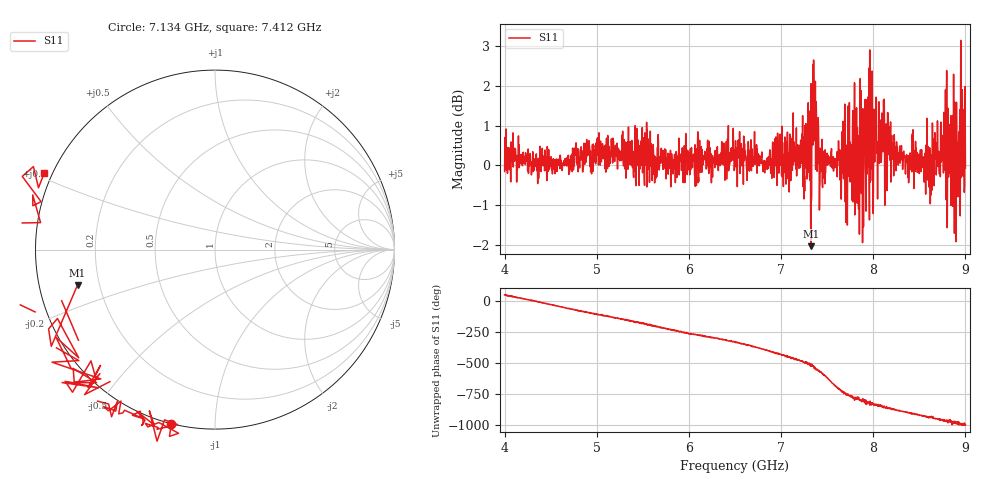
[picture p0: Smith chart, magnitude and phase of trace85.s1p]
! Created with skrf 1.8.0 (http://scikit-rf.org).
# Hz S RI R 50.0
!freq ReS11 ImS11
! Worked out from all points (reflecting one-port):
!   1601 points, 4 GHz to 9 GHz, reference 50 ohm
!   lowest |S11| = -2.0 dB at 7.322 GHz (marker M1), VSWR 8.57, Z = 5.93 - j6.26 ohm
!   phase of S11 starts at 52 deg and turns -1048 deg over the sweep
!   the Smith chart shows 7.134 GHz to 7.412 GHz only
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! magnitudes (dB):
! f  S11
! 4 GHz  -0.2
! 4.625 GHz  -0.1
! 5.25 GHz  0.1
! 5.875 GHz  0.1
! 6.5 GHz  0.4
! 7.125 GHz  0.7
! 7.322 GHz  -2.0
! 7.359 GHz  1.9
! 7.438 GHz  -0.1
! 7.669 GHz  -0.2
! 7.694 GHz  0.5
! 7.75 GHz  -0.4
! 7.909 GHz  1.6
! 7.928 GHz  0.3
! 7.944 GHz  1.3
! 7.962 GHz  2.9
! 7.981 GHz  -0.1
! 8.009 GHz  1.4
! 8.066 GHz  0.1
! 8.097 GHz  0.9
! 8.375 GHz  0.1
! 8.612 GHz  0.4
! 8.656 GHz  0.5
! 8.738 GHz  0.1
! 8.775 GHz  1.0
! 8.919 GHz  -0.8
! 8.953 GHz  -0.3
! 9 GHz  -0.1
